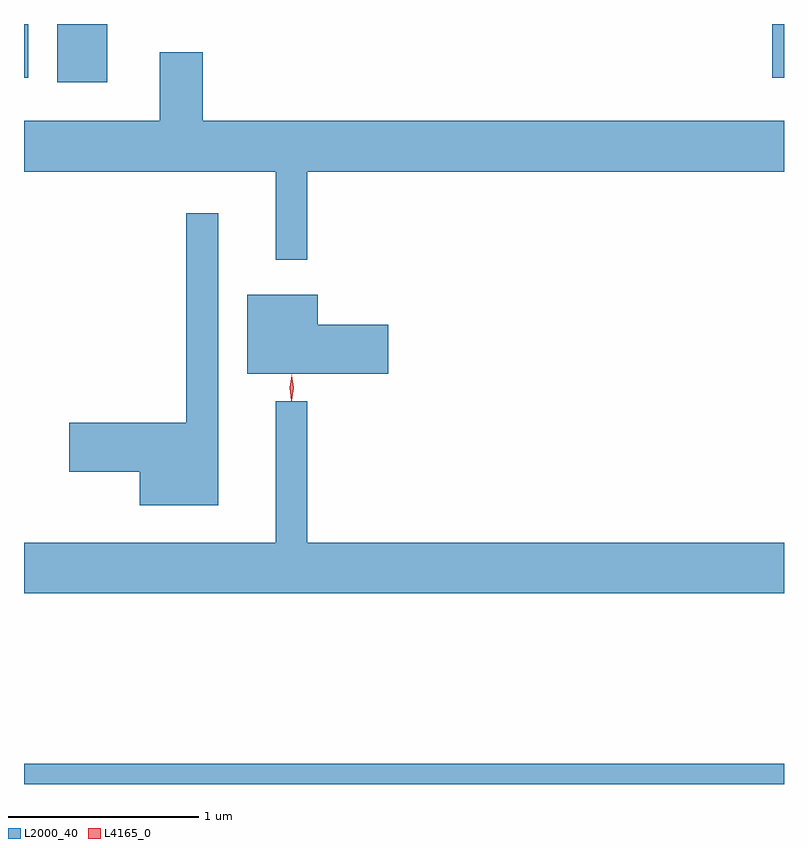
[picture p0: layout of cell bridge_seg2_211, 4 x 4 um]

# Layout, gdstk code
import gdstk
lib = gdstk.Library(unit=1e-6, precision=1e-09)
def R(c, l, rs):  # rectangles x0, y0, x1, y1
    for r in rs: c.add(gdstk.rectangle(r[:2], r[2:], *l))
def P(c, l, *ps):  # polygons
    for p in ps: c.add(gdstk.Polygon(p, *l))
L2000_40 = (2000, 40)
L4165_0 = (4165, 0)

bridge_seg2_211 = lib.new_cell('bridge_seg2_211')
R(bridge_seg2_211, L2000_40, [(587.277,1078.393,591.277,1078.499), (587.451,1082.086,587.714,1082.393), (587.277,1082.111,587.299,1082.393), (591.216,1082.111,591.277,1082.393)])
P(bridge_seg2_211, L2000_40, [(588.769,1081.616),(591.277,1081.616),(591.277,1081.884),(588.219,1081.884),(588.219,1082.244),(587.991,1082.244),(587.991,1081.884),(587.277,1081.884),(587.277,1081.616),(588.601,1081.616),(588.601,1081.153),(588.769,1081.153)],
  [(588.299,1081.398),(588.131,1081.398),(588.131,1080.294),(587.516,1080.294),(587.516,1080.036),(587.886,1080.036),(587.886,1079.861),(588.299,1079.861)],
  [(589.194,1080.809),(588.824,1080.809),(588.824,1080.969),(588.451,1080.969),(588.451,1080.551),(589.194,1080.551)],
  [(591.277,1079.664),(588.769,1079.664),(588.769,1080.408),(588.601,1080.408),(588.601,1079.664),(587.277,1079.664),(587.277,1079.396),(591.277,1079.396)])
P(bridge_seg2_211, L4165_0, [(588.687,1080.413),(588.686,1080.414),(588.677,1080.476),(588.686,1080.54),(588.687,1080.54),(588.687,1080.54),(588.697,1080.476),(588.687,1080.414)],
  [(588.684,1080.41),(588.676,1080.478),(588.686,1080.545),(588.687,1080.546),(588.687,1080.545),(588.696,1080.478),(588.686,1080.41),(588.685,1080.41)])

lib.write_gds('bridge_seg2_211.gds')
